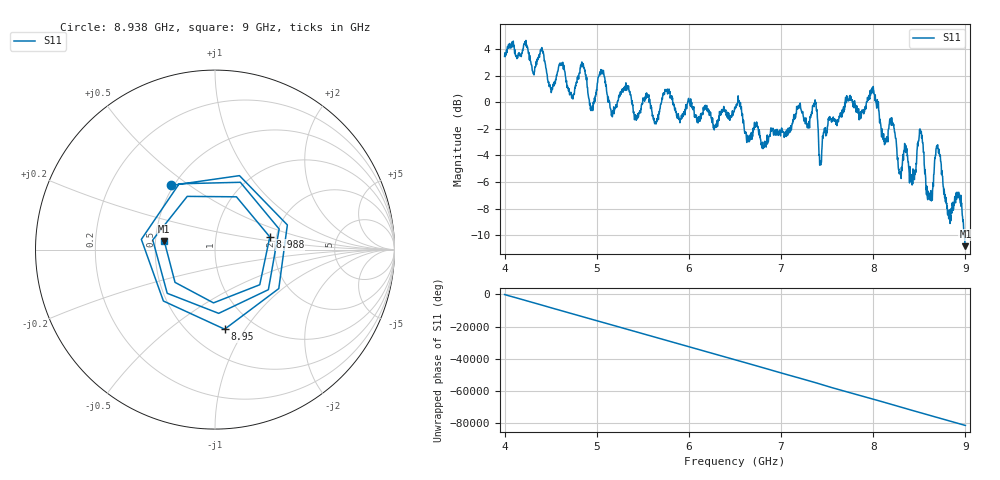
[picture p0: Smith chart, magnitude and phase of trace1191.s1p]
! Created with skrf 1.8.0 (http://scikit-rf.org).
# Hz S RI R 50.0
!freq ReS11 ImS11
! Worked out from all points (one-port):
!   1601 points, 4 GHz to 9 GHz, reference 50 ohm
!   lowest |S11| = -10.8 dB at 9 GHz (marker M1), VSWR 1.81, Z = 27.8 + j2.94 ohm
!   |S11| at or under -10 dB: 8.985224 GHz to 8.990297 GHz (5.073 MHz wide, 0.0564 % of centre); 8.991123 GHz to end of sweep
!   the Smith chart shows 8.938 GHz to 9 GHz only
!   S11 on the Smith chart (normalised r, x): 8.938 GHz: 0.48, +0.43; 8.95 GHz: 0.73, -0.81; 8.988 GHz: 1.85, +0.29; 9 GHz: 0.56, +0.06
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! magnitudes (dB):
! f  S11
! 4 GHz  3.5
! 4.625 GHz  2.9
! 4.731 GHz  0.4
! 4.85 GHz  2.9
! 4.944 GHz  -0.4
! 5.05 GHz  2.2
! 5.169 GHz  -1.1
! 5.25 GHz  0.4
! 5.875 GHz  -1.2
! 6.5 GHz  -0.5
! 6.812 GHz  -3.3
! 7.125 GHz  -1.6
! 7.366 GHz  -0.1
! 7.431 GHz  -4.7
! 7.75 GHz  0.5
! 7.997 GHz  0.7
! 8.216 GHz  -1.6
! 8.284 GHz  -5.3
! 8.375 GHz  -4.4
! 8.438 GHz  -5.1
! 8.516 GHz  -2.3
! 8.597 GHz  -6.7
! 8.703 GHz  -3.5
! 8.819 GHz  -8.8
! 8.938 GHz  -7.3
! 8.95 GHz  -7.0
! 8.988 GHz  -10.1
! 9 GHz  -10.8
